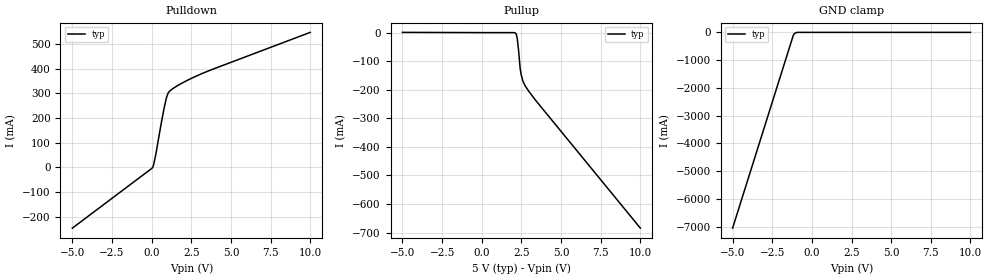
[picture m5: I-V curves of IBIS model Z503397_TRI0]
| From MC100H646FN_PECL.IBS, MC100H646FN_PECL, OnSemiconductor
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| (C) COPYRIGHT 1993-2000
| MENTOR GRAPHICS CORPORATION
| ICX STANDARD LIBRARY, ICX PROJECT MODELING,
| ICX CUSTOM MODELING, ICX VENDOR MODEL
| ALL RIGHTS RESERVED.
| THE FOLLOWING ARE TRADEMARKS OR SERVICE MARKS OF
| MENTOR GRAPHICS CORPORATION:ICX (R), ICX STANDARD
| LIBRARY(R), ICX PROJECT MODELING(R), ICX CUSTOM
| MODELING(R), qualityIBIS(TM), MODELVIEWER(TM),
| AND MODELEDITOR(TM)
| ALL COPIES OF SOFTWARE, INCLUDING BUT NOT LIMITED TO
| ANY MODIFICATIONS, ENHANCEMENTS OR DERIVATIVE WORKS,
| MUST CONTAIN ALL MENTOR GRAPHICS CORPORATION'S
| NOTICES AND LEGENDS, INCLUDING THOSE EMBEDDED IN
| SOFTWARE AND THOSE AFFIXED TO SOFTWARE MEDIUM
| AND CONTAINER, AS RECEIVED FROM MENTOR GRAPHICS
| CORPORATION.
| Model Application Version 1.89 2/18/99.
[Model] Z503397_TRI0
Model_type 3-state
Vref=0.000V
Rref=500.0Mohms
Cref=50.00pF
Vmeas=1.500V
C_comp 8.000pF NA NA
| variable typ   min   max
[Voltage Range] 5.000V NA NA
[POWER Clamp Reference] 5.000V NA NA
[Pullup Reference] 5.000V NA NA
[Pulldown Reference] 0.000V NA NA
[GND Clamp Reference] 0.000V NA NA
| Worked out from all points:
|   slope of the pulldown table from 0 to 0.75 V, typ, clamps not added: 3.22 ohm
|   slope of the pullup table from 0 to 0.75 V, typ, clamps not added: 12.8 kohm
|   GND clamp passes 1 mA (typ) near -0.91 V on its own axis
[GND Clamp]
-5V       -7.056A    NA         NA
-1.177V   -114.5mA   NA         NA
-1.121V   -57.31mA   NA         NA
-1.059V   -26.93mA   NA         NA
-981.4mV  -8.076mA   NA         NA
-899.6mV  0A         NA         NA
10V       0A         NA         NA
[Pulldown]
-5V       -245.9mA   NA         NA
32.65mV   -2.741mA   NA         NA
121.8mV   9.944mA    NA         NA
270.2mV   55.56mA    NA         NA
595.8mV   175.9mA    NA         NA
786.1mV   240.5mA    NA         NA
922.9mV   280.1mA    NA         NA
1.035V    301.2mA    NA         NA
1.13V     309.1mA    NA         NA
1.832V    338.9mA    NA         NA
3.164V    380.3mA    NA         NA
10V       547.4mA    NA         NA
[Pullup]
-5V       975.4uA    NA         NA
2.117V    -1.101mA   NA         NA
2.178V    -5.494mA   NA         NA
2.237V    -20.5mA    NA         NA
2.316V    -59.21mA   NA         NA
2.421V    -125.7mA   NA         NA
2.48V     -146mA     NA         NA
2.593V    -169.7mA   NA         NA
2.735V    -186.2mA   NA         NA
3.359V    -234.5mA   NA         NA
10V       -684.7mA   NA         NA
[POWER Clamp]
-5V       0A         NA         NA
10V       0A         NA         NA
[Ramp]
| variable typ min max
dV/dt_r 1.657/1.343n NA NA
dV/dt_f 1.657/668.6p NA NA
R_load = 500.0Ohms
